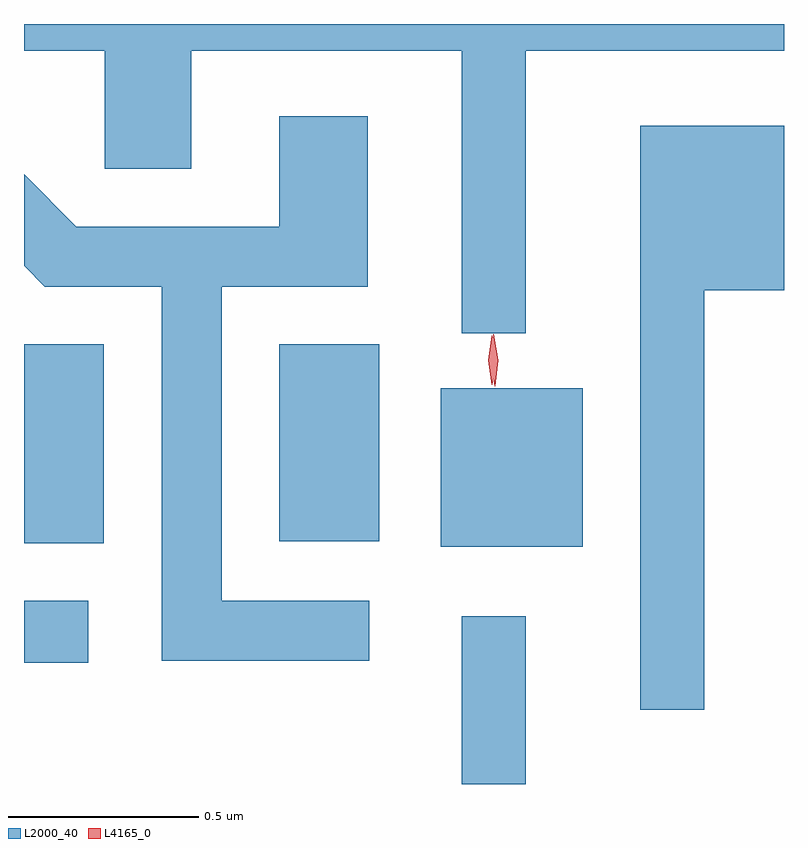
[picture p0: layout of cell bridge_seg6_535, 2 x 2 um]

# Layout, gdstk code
import gdstk
lib = gdstk.Library(unit=1e-6, precision=1e-09)
def R(c, l, rs):  # rectangles x0, y0, x1, y1
    for r in rs: c.add(gdstk.rectangle(r[:2], r[2:], *l))
def P(c, l, *ps):  # polygons
    for p in ps: c.add(gdstk.Polygon(p, *l))
L2000_40 = (2000, 40)
L4165_0 = (4165, 0)

bridge_seg6_535 = lib.new_cell('bridge_seg6_535')
R(bridge_seg6_535, L2000_40, [(832.511,1539.227,832.679,1539.668), (831.359,1539.546,831.528,1539.709), (832.456,1539.851,832.829,1540.269), (831.359,1539.861,831.569,1540.384), (832.031,1539.866,832.294,1540.384)])
P(bridge_seg6_535, L2000_40, [(832.679,1541.156),(833.359,1541.156),(833.359,1541.227),(831.359,1541.227),(831.359,1541.156),(831.571,1541.156),(831.571,1540.846),(831.799,1540.846),(831.799,1541.156),(832.511,1541.156),(832.511,1540.413),(832.679,1540.413)],
  [(832.268,1539.709),(831.879,1539.709),(831.879,1540.536),(832.264,1540.536),(832.264,1540.984),(832.031,1540.984),(832.031,1540.694),(831.497,1540.694),(831.359,1540.832),(831.359,1540.591),(831.414,1540.536),(831.721,1540.536),(831.721,1539.551),(832.268,1539.551)],
  [(833.149,1540.526),(833.359,1540.526),(833.359,1540.959),(832.981,1540.959),(832.981,1539.423),(833.149,1539.423)])
P(bridge_seg6_535, L4165_0, [(832.598,1540.274),(832.587,1540.342),(832.594,1540.41),(832.595,1540.41),(832.595,1540.41),(832.607,1540.342),(832.599,1540.274),(832.599,1540.274)],
  [(832.59,1540.278),(832.581,1540.342),(832.59,1540.406),(832.591,1540.407),(832.591,1540.406),(832.601,1540.342),(832.591,1540.278),(832.591,1540.278)])

lib.write_gds('bridge_seg6_535.gds')
